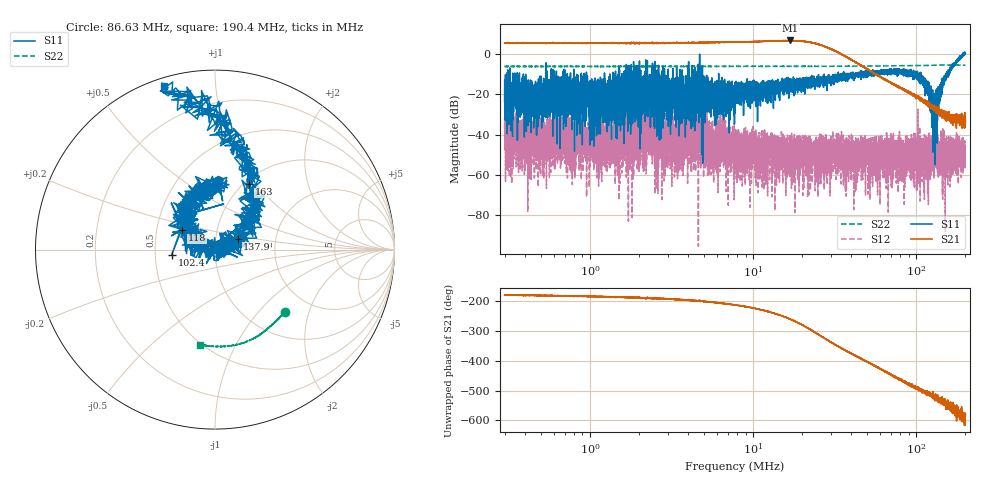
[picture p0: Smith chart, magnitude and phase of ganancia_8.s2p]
# Hz S DB R 50
! CMT, M5065, 19127446, 24.2.4/2
! Date: 11/1/2024 3:10:02 PM
! Data: Format (Calibration Info)
! Freq	S11:dB/Ang(F2)	S21:dB/Ang(F2)	S12:dB/Ang(F2)	S22:dB/Ang(F2)
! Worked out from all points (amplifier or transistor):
!   9000 points, 300 kHz to 200 MHz, reference 50 ohm
!   highest |S21| = 6.9 dB at 16.87 MHz (marker M1)
!   |S21| within 3 dB of that: start of sweep to 27.38 MHz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
!   unconditionally stable (mu >= 1): start of sweep to 4.701 MHz; 4.706 MHz to 191.8 MHz; 193.9891 MHz to 194.8973 MHz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
!   at 886.8 kHz: K = 54.09, MAG = 6.9 dB, |S12| = -48.9 dB
!   at 7.749 MHz: K = 72.45, MAG = 7.5 dB, |S12| = -52.1 dB
!   at 200 MHz: K = -743.93, MSG = 6.2 dB, |S12| = -46.9 dB
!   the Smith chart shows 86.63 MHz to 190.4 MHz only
!   S11 on the Smith chart (normalised r, x): 86.63 MHz: 0.77, +0.69; 102.4 MHz: 0.61, -0.04; 118 MHz: 0.68, +0.15; 137.9 MHz: 1.28, +0.16; 163 MHz: 1.06, +0.93; 190.4 MHz: 0.03, +0.73
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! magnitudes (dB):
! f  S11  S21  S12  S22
! 300 kHz  -23.7  5.7  -37.9  -6.1
! 321.1 kHz  -17.4  5.7  -49.1  -6.0
! 347.4 kHz  -21.7  5.7  -37.6  -6.0
! 422.2 kHz  -18.1  5.6  -42.3  -6.1
! 589.6 kHz  -28.5  5.7  -42.1  -6.0
! 886.8 kHz  -20.5  5.6  -48.9  -6.0
! 1.275 MHz  -21.0  5.6  -40.8  -6.0
! 2.234 MHz  -18.0  5.6  -44.7  -6.1
! 2.621 MHz  -18.1  5.6  -29.8  -6.1
! 4.782 MHz  -8.4  5.8  -46.7  -6.0
! 7.749 MHz  -18.3  6.2  -52.1  -6.0
! 16.87 MHz  -13.4  6.9  -49.2  -6.0
! 22.91 MHz  -16.1  5.7  -48.2  -6.0
! 67.71 MHz  -8.4  -13.7  -45.8  -5.7
! 86.63 MHz  -8.3  -18.2  -45.8  -5.7
! 102.4 MHz  -12.3  -21.8  -27.4  -5.6
! 118 MHz  -13.5  -25.8  -53.3  -5.5
! 128.6 MHz  -38.5  -26.9  -49.2  -5.4
! 137.9 MHz  -17.1  -28.2  -44.9  -5.3
! 163 MHz  -7.7  -32.2  -49.0  -5.3
! 190.4 MHz  -0.4  -30.6  -50.6  -5.4
! 200 MHz  0.7  -34.5  -46.9  -5.4
